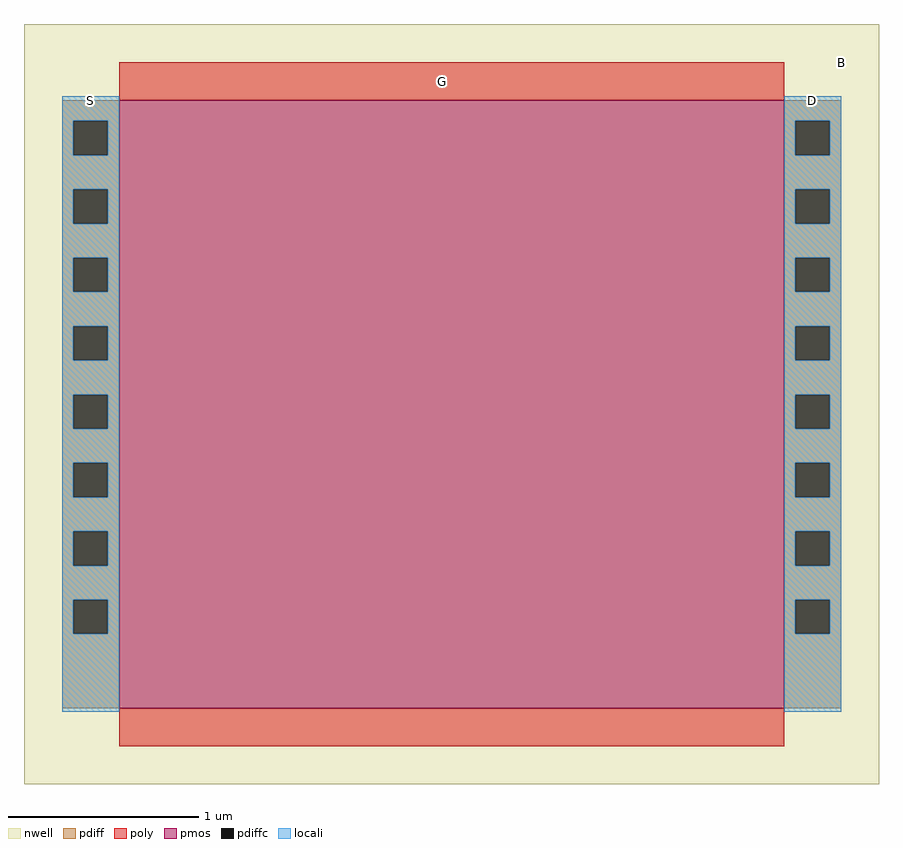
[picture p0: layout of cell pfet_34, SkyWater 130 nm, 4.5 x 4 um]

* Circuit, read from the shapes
.subckt pfet_34 B D G S
XM1 D G S B sky130_fd_pr__pfet_01v8 w=3.2 l=3.5
.ends

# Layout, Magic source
magic
tech sky130A
<< nwell >>
rect -50 -40 400 360
<< pmos >>
rect 0 0 350 320
<< pdiff >>
rect -30 309 0 320
rect -30 291 -24 309
rect -6 291 0 309
rect -30 273 0 291
rect -30 255 -24 273
rect -6 255 0 273
rect -30 237 0 255
rect -30 219 -24 237
rect -6 219 0 237
rect -30 201 0 219
rect -30 183 -24 201
rect -6 183 0 201
rect -30 165 0 183
rect -30 147 -24 165
rect -6 147 0 165
rect -30 129 0 147
rect -30 111 -24 129
rect -6 111 0 129
rect -30 93 0 111
rect -30 75 -24 93
rect -6 75 0 93
rect -30 57 0 75
rect -30 39 -24 57
rect -6 39 0 57
rect -30 0 0 39
rect 350 309 380 320
rect 350 291 356 309
rect 374 291 380 309
rect 350 273 380 291
rect 350 255 356 273
rect 374 255 380 273
rect 350 237 380 255
rect 350 219 356 237
rect 374 219 380 237
rect 350 201 380 219
rect 350 183 356 201
rect 374 183 380 201
rect 350 165 380 183
rect 350 147 356 165
rect 374 147 380 165
rect 350 129 380 147
rect 350 111 356 129
rect 374 111 380 129
rect 350 93 380 111
rect 350 75 356 93
rect 374 75 380 93
rect 350 57 380 75
rect 350 39 356 57
rect 374 39 380 57
rect 350 0 380 39
<< pdiffc >>
rect -24 291 -6 309
rect -24 255 -6 273
rect -24 219 -6 237
rect -24 183 -6 201
rect -24 147 -6 165
rect -24 111 -6 129
rect -24 75 -6 93
rect -24 39 -6 57
rect 356 291 374 309
rect 356 255 374 273
rect 356 219 374 237
rect 356 183 374 201
rect 356 147 374 165
rect 356 111 374 129
rect 356 75 374 93
rect 356 39 374 57
<< poly >>
rect 0 320 350 340
rect 0 -20 350 0
<< locali >>
rect -30 309 0 322
rect -30 291 -24 309
rect -6 291 0 309
rect -30 273 0 291
rect -30 255 -24 273
rect -6 255 0 273
rect -30 237 0 255
rect -30 219 -24 237
rect -6 219 0 237
rect -30 201 0 219
rect -30 183 -24 201
rect -6 183 0 201
rect -30 165 0 183
rect -30 147 -24 165
rect -6 147 0 165
rect -30 129 0 147
rect -30 111 -24 129
rect -6 111 0 129
rect -30 93 0 111
rect -30 75 -24 93
rect -6 75 0 93
rect -30 57 0 75
rect -30 39 -24 57
rect -6 39 0 57
rect -30 -2 0 39
rect 350 309 380 322
rect 350 291 356 309
rect 374 291 380 309
rect 350 273 380 291
rect 350 255 356 273
rect 374 255 380 273
rect 350 237 380 255
rect 350 219 356 237
rect 374 219 380 237
rect 350 201 380 219
rect 350 183 356 201
rect 374 183 380 201
rect 350 165 380 183
rect 350 147 356 165
rect 374 147 380 165
rect 350 129 380 147
rect 350 111 356 129
rect 374 111 380 129
rect 350 93 380 111
rect 350 75 356 93
rect 374 75 380 93
rect 350 57 380 75
rect 350 39 356 57
rect 374 39 380 57
rect 350 -2 380 39
<< labels >>
rlabel poly 170 330 170 330 1 G
rlabel locali -15 320 -15 320 1 S
rlabel locali 365 320 365 320 1 D
rlabel nwell 380 340 380 340 1 B
<< end >>
